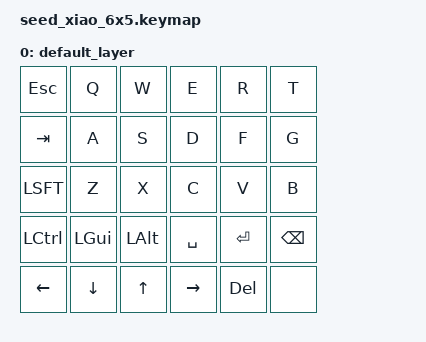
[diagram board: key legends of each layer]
/ {
    keymap {
        compatible = "zmk,keymap";

        /*
         * Matrix is 5 rows x 6 columns (row-major).
         * You stated: 6 keys on top 4 rows (24 total) and 5 keys on bottom row (last is unused).
         * The last position in the bottom row is set to &none.
         */

        default_layer {
            bindings = <
                /* Row 0 */
                &kp ESC   &kp Q     &kp W     &kp E     &kp R     &kp T
                /* Row 1 */
                &kp TAB   &kp A     &kp S     &kp D     &kp F     &kp G
                /* Row 2 */
                &kp LSFT  &kp Z     &kp X     &kp C     &kp V     &kp B
                /* Row 3 */
                &kp LCTRL &kp LGUI  &kp LALT  &kp SPACE &kp ENTER &kp BSPC
                /* Row 4 (only 5 keys used) */
                &kp LEFT  &kp DOWN  &kp UP    &kp RIGHT &kp DEL   &none
            >;
        };
    };
};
